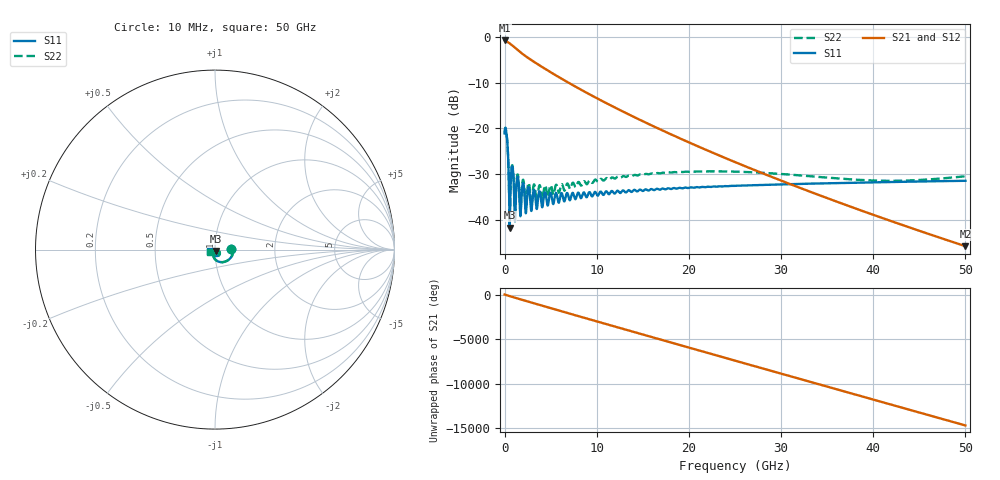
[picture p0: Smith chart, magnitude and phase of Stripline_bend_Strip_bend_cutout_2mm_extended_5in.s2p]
! Touchstone file exported from HFSS 3D Layout Design 2025.1.0
!  File:  /vlsi/proj/neon/be/die0/users/eduard.sonkin/Ansys/Ansys/UCIE/Stripline/Stripline_bend.aedt
!  Generated:  02:23:06 PM Mar 16, 2025
!  Design:  Strip_bend_cutout_2mm_extended_5_10_inch
!  Project:  Stripline_bend
!  Setup:  Setup1
!  Solution:  Sweep1
! Variables:
!  $Tline = 18um
!  $Yspace = 69
!  apDia = 50mil
!  padDia = 30mil
!  viaDia = 20mil
!  w50strip = 12.4mil
!  w50ustrip = 50mil
# GHz S MA R 50.000000
! Terminal data exported
! Port[1] = Port1
! Port[2] = Port2
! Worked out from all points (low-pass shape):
!   5000 points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, 10 MHz to 50 GHz, reference 50 ohm
!   highest |S21| = -0.80 dB at 10 MHz (marker M1); lowest = -45.8 dB at 50 GHz (marker M2)
!   |S21| within 3 dB of the highest: start of sweep to 1.993 GHz
!   lowest |S11| = -41.7 dB at 560 MHz (marker M3), VSWR 1.02, Z = 50.3 - j0.771 ohm
!   |S11| at or under -10 dB: start of sweep to end of sweep
!   |S22| runs from -41.6 to -19.9 dB; largest |S21 - S12| = 1.6e-14
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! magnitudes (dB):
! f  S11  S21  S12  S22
! 10 MHz  -21.1  -0.8  -0.8  -21.1
! 210 MHz  -21.1  -1.0  -1.0  -21.0
! 400 MHz  -26.7  -1.2  -1.2  -26.6
! 560 MHz  -41.7  -1.4  -1.4  -41.6
! 710 MHz  -30.2  -1.7  -1.7  -30.0
! 860 MHz  -28.4  -1.9  -1.9  -28.1
! 1.18 GHz  -38.5  -2.5  -2.5  -38.3
! 1.44 GHz  -30.6  -2.9  -2.9  -30.1
! 1.72 GHz  -39.2  -3.4  -3.4  -38.6
! 2.03 GHz  -32.0  -3.9  -3.9  -31.2
! 2.35 GHz  -38.1  -4.3  -4.3  -37.3
! 2.62 GHz  -32.9  -4.7  -4.7  -31.9
! 2.91 GHz  -38.1  -5.1  -5.1  -37.0
! 3.22 GHz  -33.5  -5.5  -5.5  -32.3
! 3.52 GHz  -37.5  -5.9  -5.9  -36.2
! 3.82 GHz  -33.8  -6.3  -6.3  -32.4
! 8.35 GHz  -35.2  -11.6  -11.6  -32.5
! 16.68 GHz  -33.3  -20.0  -20.0  -29.8
! 25.01 GHz  -32.6  -27.4  -27.4  -29.5
! 33.34 GHz  -32.1  -34.0  -34.0  -30.5
! 41.67 GHz  -31.7  -40.1  -40.1  -31.5
! 50 GHz  -31.5  -45.8  -45.8  -30.5
